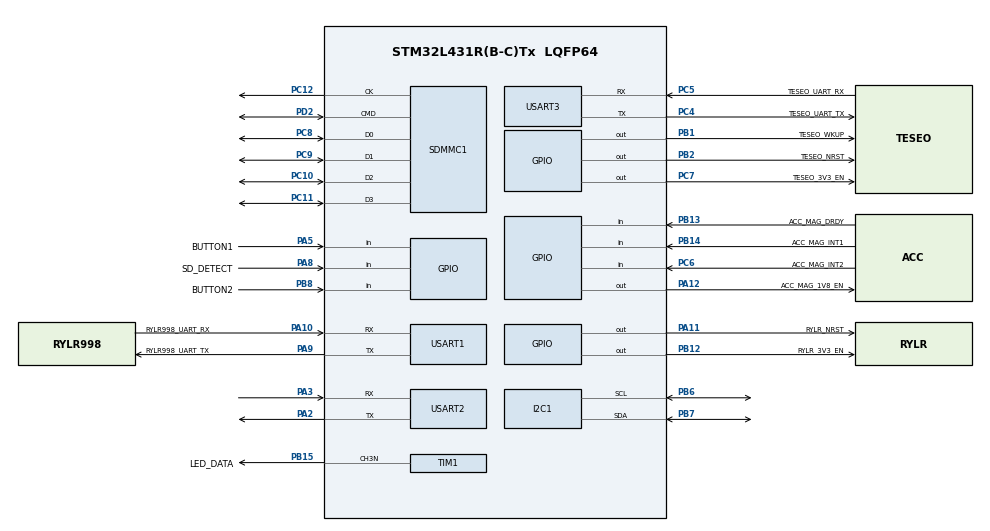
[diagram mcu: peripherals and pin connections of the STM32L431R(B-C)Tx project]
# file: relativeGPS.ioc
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Dma.Request0=TIM1_CH3
Dma.Request1=USART1_RX
Dma.TIM1_CH3.0.Direction=DMA_MEMORY_TO_PERIPH
Dma.TIM1_CH3.0.Instance=DMA1_Channel7
Dma.TIM1_CH3.0.MemDataAlignment=DMA_MDATAALIGN_HALFWORD
Dma.TIM1_CH3.0.MemInc=DMA_MINC_ENABLE
Dma.TIM1_CH3.0.Mode=DMA_CIRCULAR
Dma.TIM1_CH3.0.PeriphDataAlignment=DMA_PDATAALIGN_HALFWORD
Dma.TIM1_CH3.0.PeriphInc=DMA_PINC_DISABLE
Dma.TIM1_CH3.0.Priority=DMA_PRIORITY_LOW
Dma.USART1_RX.1.Direction=DMA_PERIPH_TO_MEMORY
Dma.USART1_RX.1.Instance=DMA2_Channel7
Dma.USART1_RX.1.MemDataAlignment=DMA_MDATAALIGN_BYTE
Dma.USART1_RX.1.MemInc=DMA_MINC_ENABLE
Dma.USART1_RX.1.Mode=DMA_CIRCULAR
Dma.USART1_RX.1.PeriphDataAlignment=DMA_PDATAALIGN_BYTE
Dma.USART1_RX.1.PeriphInc=DMA_PINC_DISABLE
Dma.USART1_RX.1.Priority=DMA_PRIORITY_LOW
FATFS.BSP.number=1
FATFS0.BSP.STBoard=false
FATFS0.BSP.api=Unknown
FATFS0.BSP.instance=PA8
FATFS0.BSP.ip=GPIO
FATFS0.BSP.mode=Input
FATFS0.BSP.name=Detect_SDIO
FATFS0.BSP.solution=PA8
I2C1.Timing=0x00D09BE3
Mcu.Family=STM32L4
Mcu.Name=STM32L431R(B-C)Tx
Mcu.Package=LQFP64
NVIC.DMA1_Channel7_IRQn=true\:1\:0\:true\:false\:true\:false\:true\:true
NVIC.DMA2_Channel7_IRQn=true\:2\:0\:true\:false\:true\:false\:true\:true
NVIC.PriorityGroup=NVIC_PRIORITYGROUP_4
NVIC.USART1_IRQn=true\:2\:0\:true\:false\:true\:true\:true\:true
NVIC.USART2_IRQn=true\:2\:0\:true\:false\:true\:true\:true\:true
PA10.GPIO_Label=RYLR998_UART_RX
PA10.Mode=Asynchronous
PA10.Signal=USART1_RX
PA11.GPIO_Label=RYLR_NRST
PA11.GPIO_PuPd=GPIO_PULLUP
PA11.PinState=GPIO_PIN_SET
PA11.Signal=GPIO_Output
PA12.GPIO_Label=ACC_MAG_1V8_EN
PA12.GPIO_ModeDefaultOutputPP=GPIO_MODE_OUTPUT_PP
PA12.GPIO_PuPd=GPIO_PULLUP
PA12.PinState=GPIO_PIN_SET
PA12.Signal=GPIO_Output
PA13\ (JTMS-SWDIO).Mode=Serial_Wire
PA13\ (JTMS-SWDIO).Signal=SYS_JTMS-SWDIO
PA14\ (JTCK-SWCLK).Mode=Serial_Wire
PA14\ (JTCK-SWCLK).Signal=SYS_JTCK-SWCLK
PA2.Mode=Asynchronous
PA2.Signal=USART2_TX
PA3.Mode=Asynchronous
PA3.Signal=USART2_RX
PA5.GPIO_Label=BUTTON1
PA5.GPIO_PuPd=GPIO_PULLUP
PA5.Signal=GPIO_Input
PA8.GPIO_Label=SD_DETECT
PA8.Signal=GPIO_Input
PA9.GPIO_Label=RYLR998_UART_TX
PA9.Mode=Asynchronous
PA9.Signal=USART1_TX
PB1.GPIO_Label=TESEO_WKUP
PB1.GPIO_PuPd=GPIO_PULLDOWN
PB1.PinState=GPIO_PIN_RESET
PB1.Signal=GPIO_Output
PB12.GPIO_Label=RYLR_3V3_EN
PB12.GPIO_PuPd=GPIO_PULLUP
PB12.PinState=GPIO_PIN_RESET
PB12.Signal=GPIO_Output
PB13.GPIO_Label=ACC_MAG_DRDY
PB13.Signal=GPIO_Input
PB14.GPIO_Label=ACC_MAG_INT1
PB14.Signal=GPIO_Input
PB15.GPIO_Label=LED_DATA
PB15.Mode=PWM Generation3 CH3N
PB15.Signal=TIM1_CH3N
PB2.GPIO_Label=TESEO_NRST
PB2.GPIO_PuPd=GPIO_PULLUP
PB2.PinState=GPIO_PIN_SET
PB2.Signal=GPIO_Output
PB6.Mode=I2C
PB6.Signal=I2C1_SCL
PB7.Mode=I2C
PB7.Signal=I2C1_SDA
PB8.GPIO_Label=BUTTON2
PB8.GPIO_PuPd=GPIO_PULLUP
PB8.Signal=GPIO_Input
PC10.GPIO_PuPd=GPIO_PULLUP
PC10.GPIO_Speed_High_Default=GPIO_SPEED_FREQ_LOW
PC10.Mode=SD_4_bits_Wide_bus
PC10.Signal=SDMMC1_D2
PC11.GPIO_PuPd=GPIO_PULLUP
PC11.GPIO_Speed_High_Default=GPIO_SPEED_FREQ_LOW
PC11.Mode=SD_4_bits_Wide_bus
PC11.Signal=SDMMC1_D3
PC12.GPIO_Speed_High_Default=GPIO_SPEED_FREQ_LOW
PC12.Mode=SD_4_bits_Wide_bus
PC12.Signal=SDMMC1_CK
PC4.GPIO_Label=TESEO_UART_TX
PC4.Mode=Asynchronous
PC4.Signal=USART3_TX
PC5.GPIO_Label=TESEO_UART_RX
PC5.Mode=Asynchronous
PC5.Signal=USART3_RX
PC6.GPIO_Label=ACC_MAG_INT2
PC6.Signal=GPIO_Input
PC7.GPIO_Label=TESEO_3V3_EN
PC7.Signal=GPIO_Output
PC8.GPIO_PuPd=GPIO_PULLUP
PC8.GPIO_Speed_High_Default=GPIO_SPEED_FREQ_LOW
PC8.Mode=SD_4_bits_Wide_bus
PC8.Signal=SDMMC1_D0
PC9.GPIO_PuPd=GPIO_PULLUP
PC9.GPIO_Speed_High_Default=GPIO_SPEED_FREQ_LOW
PC9.Mode=SD_4_bits_Wide_bus
PC9.Signal=SDMMC1_D1
PD2.GPIO_PuPd=GPIO_PULLUP
PD2.GPIO_Speed_High_Default=GPIO_SPEED_FREQ_LOW
PD2.Mode=SD_4_bits_Wide_bus
PD2.Signal=SDMMC1_CMD
PH0-OSC_IN\ (PH0).Mode=HSE-External-Clock-Source
PH0-OSC_IN\ (PH0).Signal=RCC_OSC_IN
ProjectManager.HeapSize=0x200
ProjectManager.StackSize=0x400
ProjectManager.TargetToolchain=Makefile
RCC.ADCFreq_Value=32000000
RCC.AHBFreq_Value=40000000
RCC.APB1Freq_Value=40000000
RCC.APB1TimFreq_Value=40000000
RCC.APB2Freq_Value=40000000
RCC.APB2TimFreq_Value=40000000
RCC.CortexFreq_Value=40000000
RCC.HCLKFreq_Value=40000000
RCC.HSE_VALUE=8000000
RCC.HSI48_VALUE=48000000
RCC.HSI_VALUE=16000000
RCC.LSE_VALUE=32768
RCC.MSI_VALUE=4000000
RCC.PLLN=20
RCC.PLLR=RCC_PLLR_DIV4
RCC.PLLSourceVirtual=RCC_PLLSOURCE_HSE
RCC.SYSCLKFreq_VALUE=40000000
RCC.SYSCLKSource=RCC_SYSCLKSOURCE_PLLCLK
RCC.VCOOutputFreq_Value=160000000
TIM1.Channel-PWM\ Generation3\ CH3N=TIM_CHANNEL_3
TIM1.OCNIdleState_3=TIM_OCNIDLESTATE_RESET
TIM1.OCNPolarity_3=TIM_OCNPOLARITY_HIGH
TIM1.Period=50-1
USART1.VirtualMode-Asynchronous=VM_ASYNC
USART2.VirtualMode-Asynchronous=VM_ASYNC
USART3.VirtualMode-Asynchronous=VM_ASYNC
VP_FATFS_VS_SDIO.Mode=SDIO
board=custom

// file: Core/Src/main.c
/* USER CODE BEGIN Header */
/**
  ******************************************************************************
  * @file           : main.c
  * @brief          : Main program body
  ******************************************************************************
  * @attention
  *
  * Copyright (c) 2025 STMicroelectronics.
  * All rights reserved.
  *
  * This software is licensed under terms that can be found in the LICENSE file
  * in the root directory of this software component.
  * If no LICENSE file comes with this software, it is provided AS-IS.
  *
  ******************************************************************************
  */
/* USER CODE END Header */
#include "main.h"
#include "dma.h"
#include "fatfs.h"
#include "i2c.h"
#include "sdmmc.h"
#include "tim.h"
#include "usart.h"
#include "gpio.h"

/* USER CODE BEGIN Includes */

#include "leds.h"
#include "printer.h"
#include "rylr.h"
#include "lsm303.h"
#include "teseo.h"

__attribute__((weak)) void _close(void){}
__attribute__((weak)) void _lseek(void){}
__attribute__((weak)) void _read(void){}
__attribute__((weak)) void _write(void){}

/* USER CODE END Includes */

void SystemClock_Config(void);
void PeriphCommonClock_Config(void);
/* USER CODE BEGIN PFP */

void enter_stop_mode();

/* USER CODE END PFP */

int main(void)
{

  /* MCU Configuration--------------------------------------------------------*/

  /* Reset of all peripherals, Initializes the Flash interface and the Systick. */
  HAL_Init();

  /* Configure the system clock */
  SystemClock_Config();

  /* Configure the peripherals common clocks */
  PeriphCommonClock_Config();

  /* Initialize all configured peripherals */
  MX_GPIO_Init();
  MX_DMA_Init();
  MX_I2C1_Init();
  MX_SDMMC1_SD_Init();
  MX_USART1_UART_Init();
  MX_USART2_UART_Init();
  MX_USART3_UART_Init();
  MX_FATFS_Init();
  MX_TIM1_Init();
  /* USER CODE BEGIN 2 */

  printer(USART_DEBUG, "\r\n************\r\nRELATIVE GPS\r\n************\r\n\r\n", 46);

  // Init LEDs
  leds_init();
  leds_hello();
  printer(USART_DEBUG, "LED hello done\r\n", 16);

  // Init LoRa
  if (rylr_init(5)) {
      printer(USART_DEBUG, "[OK] Lora init success\r\n", 24);
  } else {
      printer(USART_DEBUG, "[ERROR] Lora init fail\r\n", 24);
  }

  // Init Mag & Acc
  if (lsm303_init()) {
    printer(USART_DEBUG, "[OK] Mag & Acc init success\r\n", 29);
  } else {
    printer(USART_DEBUG, "[ERROR] Mag & Acc init fail\r\n", 29);
  }

  // TODO: Init GPS

  // TODO: Init SD card

  /* USER CODE END 2 */

  /* Infinite loop */
  /* USER CODE BEGIN WHILE */

  printer(USART_DEBUG, "Init done, entering loop!\r\n", 27);
  while (1)
  {
    uint32_t now = HAL_GetTick();

    // Process LoRa messages (if any)
    rylr_process_msg();

    // TODO: Read accelerometer + magnetometer
    // TODO: Read GPS
    // TODO: Update LEDs accordingly
    // TODO: Send current pos to Lora (in interrupt)

    // TODO: save positions to SD

    // TODO: update state from buttons
    // TODO: update state from timeout
    // TODO: enter stop mode if required

    static uint32_t last_toggle = 0;
    if (now - last_toggle >= 2000) {
        last_toggle = now;

        static int on = 0;
        if (on) {
            leds_setColor(8, 0, 0, 0);
            leds_apply();
            on = 0;
        } else {
            leds_setColor(8, 100, 0, 0);
            leds_apply();
            on = 1;
        }
    }

    /* USER CODE END WHILE */

  }
}

void SystemClock_Config(void)
{
  LL_FLASH_SetLatency(LL_FLASH_LATENCY_2);
  while(LL_FLASH_GetLatency()!= LL_FLASH_LATENCY_2)
  {
  }
  LL_PWR_SetRegulVoltageScaling(LL_PWR_REGU_VOLTAGE_SCALE1);
  while (LL_PWR_IsActiveFlag_VOS() != 0)
  {
  }
  LL_RCC_HSE_EnableBypass();
  LL_RCC_HSE_Enable();

   /* Wait till HSE is ready */
  while(LL_RCC_HSE_IsReady() != 1)
  {

  }
  LL_RCC_PLL_ConfigDomain_SYS(LL_RCC_PLLSOURCE_HSE, LL_RCC_PLLM_DIV_1, 20, LL_RCC_PLLR_DIV_4);
  LL_RCC_PLL_EnableDomain_SYS();
  LL_RCC_PLL_Enable();

   /* Wait till PLL is ready */
  while(LL_RCC_PLL_IsReady() != 1)
  {

  }
  LL_RCC_SetSysClkSource(LL_RCC_SYS_CLKSOURCE_PLL);

   /* Wait till System clock is ready */
  while(LL_RCC_GetSysClkSource() != LL_RCC_SYS_CLKSOURCE_STATUS_PLL)
  {

  }
  LL_RCC_SetAHBPrescaler(LL_RCC_SYSCLK_DIV_1);
  LL_RCC_SetAPB1Prescaler(LL_RCC_APB1_DIV_1);
  LL_RCC_SetAPB2Prescaler(LL_RCC_APB2_DIV_1);
  LL_SetSystemCoreClock(40000000);

   /* Update the time base */
  if (HAL_InitTick (TICK_INT_PRIORITY) != HAL_OK)
  {
    Error_Handler();
  }
}

void PeriphCommonClock_Config(void)
{
  LL_RCC_PLLSAI1_ConfigDomain_48M(LL_RCC_PLLSOURCE_HSE, LL_RCC_PLLM_DIV_1, 8, LL_RCC_PLLSAI1Q_DIV_2);
  LL_RCC_PLLSAI1_EnableDomain_48M();
  LL_RCC_PLLSAI1_Enable();

   /* Wait till PLLSAI1 is ready */
  while(LL_RCC_PLLSAI1_IsReady() != 1)
  {

  }
}

/* USER CODE BEGIN 4 */

void enter_stop_mode()
{
    // TODO: Handle power
    // TODO: Disable some interrupts
    // TODO: enter sleep / stop mode

    // STOP MODE

    // TODO: Handle power
    // TODO: Enable interrupts
}

/* USER CODE END 4 */

void Error_Handler(void)
{
  /* USER CODE BEGIN Error_Handler_Debug */
  /* User can add his own implementation to report the HAL error return state */
  __disable_irq();
  while (1)
  {
    leds_erase();
    leds_apply();

    HAL_Delay(500);

    leds_setColor(8, 1, 0, 0);
    leds_setColor(9, 1, 0, 0);
    leds_setColor(10, 1, 0, 0);
    leds_apply();

    HAL_Delay(500);
  }
  /* USER CODE END Error_Handler_Debug */
}
